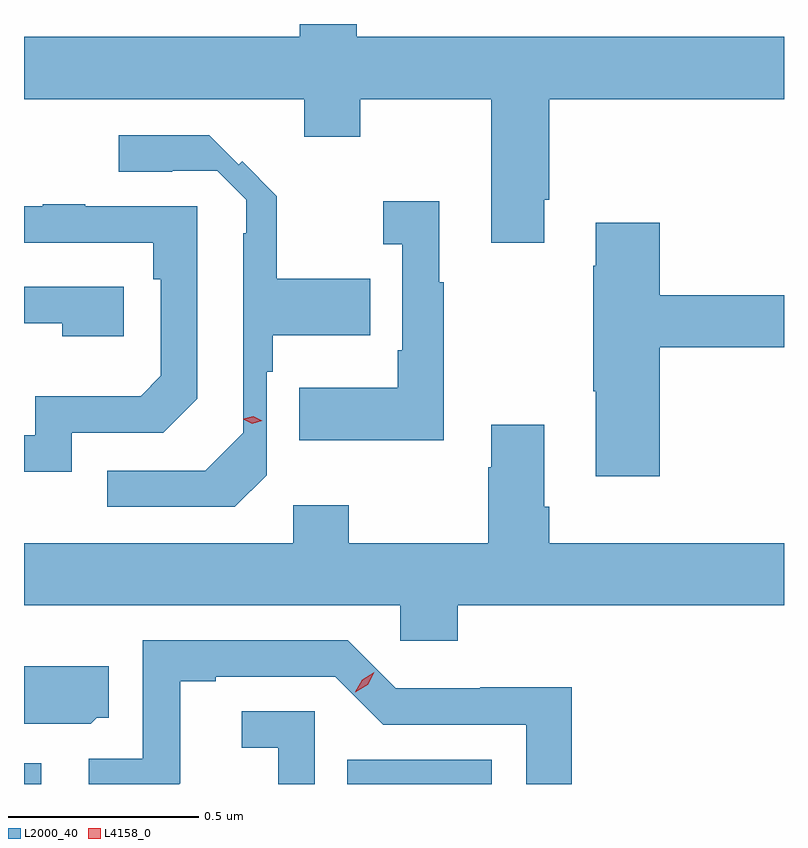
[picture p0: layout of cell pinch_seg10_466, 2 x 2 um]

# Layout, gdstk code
import gdstk
lib = gdstk.Library(unit=1e-6, precision=1e-09)
def R(c, l, rs):  # rectangles x0, y0, x1, y1
    for r in rs: c.add(gdstk.rectangle(r[:2], r[2:], *l))
def P(c, l, *ps):  # polygons
    for p in ps: c.add(gdstk.Polygon(p, *l))
L2000_40 = (2000, 40)
L4158_0 = (4158, 0)

pinch_seg10_466 = lib.new_cell('pinch_seg10_466')
R(pinch_seg10_466, L2000_40, [(358.296,1303.842,358.341,1303.897), (359.146,1303.842,359.527,1303.906)])
P(pinch_seg10_466, L2000_40, [(359.021,1305.808),(358.296,1305.808),(358.296,1305.644),(359.033,1305.644),(359.033,1305.545),(359.181,1305.545),(359.181,1305.644),(359.525,1305.644),(359.525,1305.267),(359.665,1305.267),(359.665,1305.379),(359.678,1305.379),(359.678,1305.644),(360.296,1305.644),(360.296,1305.808),(359.172,1305.808),(359.172,1305.842),(359.021,1305.842)],
  [(358.935,1304.655),(358.935,1304.927),(358.951,1304.927),(358.951,1305.023),(359.207,1305.023),(359.207,1305.171),(358.961,1305.171),(358.961,1305.389),(358.87,1305.481),(358.861,1305.472),(358.783,1305.549),(358.545,1305.549),(358.545,1305.453),(358.686,1305.453),(358.686,1305.456),(358.804,1305.456),(358.881,1305.379),(358.881,1305.291),(358.873,1305.291),(358.873,1304.767),(358.773,1304.667),(358.515,1304.667),(358.515,1304.571),(358.851,1304.571)],
  [(359.401,1305.163),(359.389,1305.163),(359.389,1305.376),(359.241,1305.376),(359.241,1305.263),(359.292,1305.263),(359.292,1304.983),(359.28,1304.983),(359.28,1304.885),(359.02,1304.885),(359.02,1304.747),(359.401,1304.747)],
  [(358.422,1304.766),(358.662,1304.766),(358.752,1304.856),(358.752,1305.363),(358.457,1305.363),(358.457,1305.368),(358.345,1305.368),(358.345,1305.363),(358.296,1305.363),(358.296,1305.267),(358.636,1305.267),(358.636,1305.17),(358.656,1305.17),(358.656,1304.916),(358.603,1304.863),(358.326,1304.863),(358.326,1304.76),(358.296,1304.76),(358.296,1304.664),(358.422,1304.664)],
  [(359.969,1304.992),(360.296,1304.992),(360.296,1305.128),(359.969,1305.128),(359.969,1305.319),(359.801,1305.319),(359.801,1305.206),(359.794,1305.206),(359.794,1304.875),(359.801,1304.875),(359.801,1304.652),(359.969,1304.652)],
  [(358.558,1305.15),(358.296,1305.15),(358.296,1305.054),(358.397,1305.054),(358.397,1305.02),(358.558,1305.02)],
  [(359.438,1304.312),(360.296,1304.312),(360.296,1304.476),(359.678,1304.476),(359.678,1304.572),(359.665,1304.572),(359.665,1304.788),(359.525,1304.788),(359.525,1304.675),(359.518,1304.675),(359.518,1304.476),(359.151,1304.476),(359.151,1304.575),(359.004,1304.575),(359.004,1304.476),(358.296,1304.476),(358.296,1304.312),(359.286,1304.312),(359.286,1304.219),(359.438,1304.219)],
  [(358.707,1303.844),(358.707,1304.112),(358.801,1304.112),(358.801,1304.124),(359.115,1304.124),(359.241,1303.998),(359.618,1303.998),(359.618,1303.842),(359.737,1303.842),(359.737,1304.096),(359.496,1304.096),(359.496,1304.094),(359.274,1304.094),(359.148,1304.22),(358.608,1304.22),(358.608,1303.908),(358.467,1303.908),(358.467,1303.842),(358.705,1303.842)],
  [(358.488,1304.016),(358.519,1304.016),(358.519,1304.152),(358.296,1304.152),(358.296,1304.001),(358.338,1304.001),(358.338,1304),(358.472,1304)],
  [(359.061,1304.034),(358.869,1304.034),(358.869,1303.937),(358.965,1303.937),(358.965,1303.842),(359.061,1303.842)])
P(pinch_seg10_466, L4158_0, [(359.168,1304.084),(359.168,1304.085),(359.186,1304.117),(359.218,1304.136),(359.218,1304.136),(359.218,1304.136),(359.2,1304.103),(359.168,1304.084)],
  [(358.897,1304.79),(358.873,1304.802),(358.873,1304.803),(358.873,1304.803),(358.899,1304.81),(358.923,1304.798),(358.923,1304.798),(358.923,1304.798)])

lib.write_gds('pinch_seg10_466.gds')
